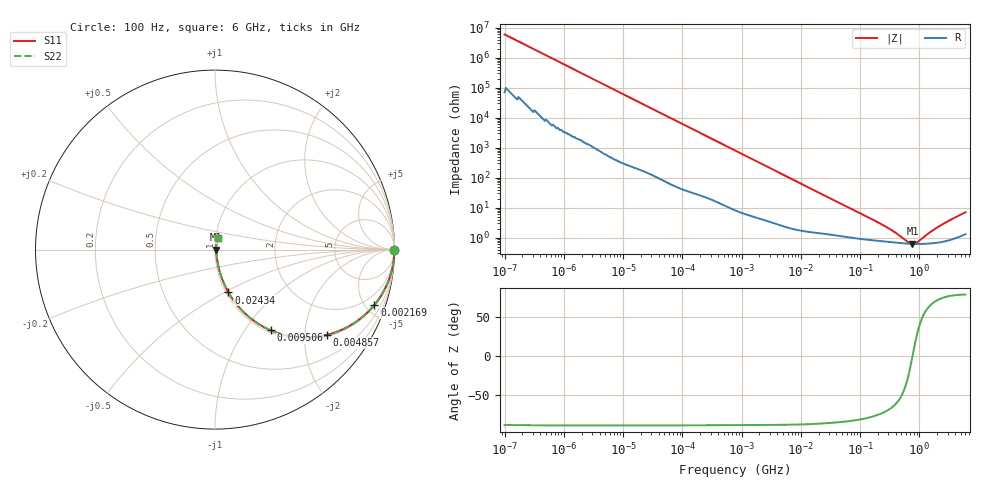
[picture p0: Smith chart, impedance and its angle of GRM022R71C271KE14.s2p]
!Murata Part Number: GRM022R71C271KE14
!These Parameters are Measured in Series Mode Connection
!Data Generated on Mar 30, 2021
!  o--ll--o
!Port1  Port2
!  o------o
!Operation Temp=25[degC], DC Bias Voltage=0[V]
!Freq. Start=100[Hz] Stop=6[GHz] 401[Steps]
# Hz S RI R 50
!Freq.(Hz) S11(Real) S11(Imag) S21(Real) S21(Imag) S12(Real) S12(Imag) S22(Real) S22(Imag)
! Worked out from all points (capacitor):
!   401 points, 100 Hz to 6 GHz, reference 50 ohm
!   read as one part in series: C = 266 pF near 109 Hz
!   lowest |Z| = 622 mohm at 765 MHz (marker M1)
!   series resonance near 769.7 MHz, so ESL is about 160 pH
!   S11 on the Smith chart (normalised r, x): 100 Hz: open; 2.169 MHz: 1.08, -5.75; 4.857 MHz: 1.05, -2.59; 9.506 MHz: 1.03, -1.33; 24.34 MHz: 1.03, -0.52; 6 GHz: 1.03, +0.14
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100  1 -1.68e-05  2e-07 1.68e-05  2e-07 1.68e-05  1 -1.68e-05
600  1 -9.94e-05  6e-07 9.94e-05  6e-07 9.94e-05  1 -9.94e-05
2008  1 -0.000332  2e-06 0.000332  2e-06 0.000332  1 -0.000332
40335  0.9999 -0.0066  8.45e-05 0.0066  8.45e-05 0.0066  0.9999 -0.0066
241822  0.9981 -0.0392  0.00188 0.0392  0.00188 0.0392  0.9981 -0.0392
774597  0.9834 -0.1227  0.0166 0.1227  0.0166 0.1227  0.9834 -0.1227
1386327  0.9503 -0.2113  0.0497 0.2113  0.0497 0.2113  0.9503 -0.2113
2169299  0.8886 -0.3075  0.1114 0.3075  0.1114 0.3075  0.8886 -0.3075
3245845  0.7842 -0.4032  0.2158 0.4032  0.2158 0.4032  0.7842 -0.4032
4856642  0.6234 -0.4751  0.3766 0.4751  0.3766 0.4751  0.6234 -0.4751
6644369  0.4734 -0.4886  0.5266 0.4886  0.5266 0.4886  0.4734 -0.4886
9506416  0.3102 -0.4497  0.6898 0.4497  0.6898 0.4497  0.3102 -0.4497
1.555665e7  0.1511 -0.3402  0.8489 0.3402  0.8489 0.3402  0.1511 -0.3402
2.434276e7  0.0748 -0.2386  0.9252 0.2386  0.9252 0.2386  0.0748 -0.2386
7.129496e7  0.0177 -0.0883  0.9823 0.0883  0.9823 0.0883  0.0177 -0.0883
3.124326e8  0.00742 -0.0182  0.9926 0.0182  0.9926 0.0182  0.00742 -0.0182
6.395615e8  0.00629 -0.00341  0.9937 0.00341  0.9937 0.00341  0.00629 -0.00341
7.650043e8  0.00618 -0.00011  0.9938 0.00011  0.9938 0.00011  0.00618 -0.00011
9.150511e8  0.00615 0.00321  0.9938 -0.00321  0.9938 -0.00321  0.00615 0.00321
1.565993e9  0.00657 0.0143  0.9934 -0.0143  0.9934 -0.0143  0.00657 0.0143
2.450438e9  0.00787 0.0264  0.9921 -0.0264  0.9921 -0.0264  0.00787 0.0264
6e9  0.0173 0.0665  0.9827 -0.0665  0.9827 -0.0665  0.0173 0.0665
